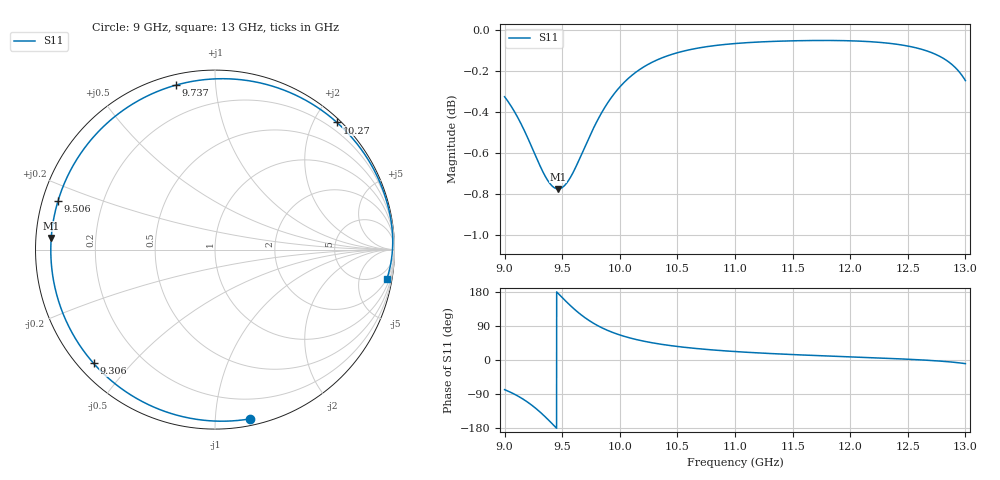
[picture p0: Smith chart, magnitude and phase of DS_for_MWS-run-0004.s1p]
! TOUCHSTONE file generated by CST DESIGN STUDIO
! Date and time: Tue Feb  4 13:46:34 2025
! Project name: C:\Work\MatlabApps\UnitCellOptimizationMatlab\CST\unitcell.cst
! Tree item: Tasks\Sweep1\SPara1\S-Parameters
! Header version: 2024
! Port assignment regex: !\s*Touchstone port\s*([0-9]+)\s*=\s*(CST MWS port|CST DES external port|CST DES block port)\s*(.+)\s* \(\"(.*)\"\)(\s*mode\s*([0-9]+))?.*
! Touchstone port assignment:
! Touchstone port 1 = CST DES external port 1 ("")
# GHz S MA R 50
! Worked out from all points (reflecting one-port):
!   4001 points, 9 GHz to 13 GHz, reference 50 ohm
!   lowest |S11| = -0.8 dB at 9.464 GHz (marker M1), VSWR 22.46, Z = 2.23 + j1.77 ohm
!   phase of S11 starts at -78 deg and turns -291 deg over the sweep
!   S11 on the Smith chart (normalised r, x): 9 GHz: 0.05, -1.23; 9.306 GHz: 0.04, -0.39; 9.506 GHz: 0.04, +0.15; 9.737 GHz: 0.05, +0.79; 10.27 GHz: 0.06, +2.34; 13 GHz: 2, -12
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9  0.9632 -78.2
9.076  0.9561 -88.8
9.173  0.9449 -105.7
9.242  0.9356 -120.7
9.306  0.9268 -136.9
9.351  0.9214 -149.5
9.39  0.9177 -161.1
9.427  0.9155 -172.5
9.464  0.9147 175.9
9.5  0.9155 164.7
9.506  0.9157 162.9
9.566  0.9201 145.0
9.621  0.9264 130.0
9.677  0.9338 116.3
9.737  0.9419 103.5
9.797  0.9495 92.5
9.866  0.9571 81.9
10  0.9684 66.1
10.124  0.9757 55.4
10.267  0.9815 46.2
10.5  0.9872 35.7
10.722  0.9902 28.7
11  0.9923 22.3
11.5  0.9938 14.3
12  0.9938 8.2
12.5  0.9909 2.0
12.789  0.9848 -3.1
13  0.9719 -9.6
